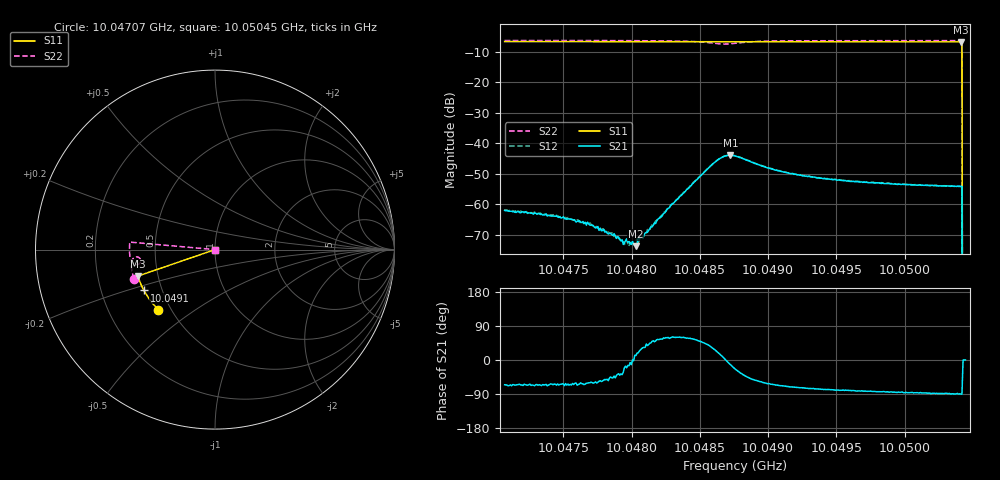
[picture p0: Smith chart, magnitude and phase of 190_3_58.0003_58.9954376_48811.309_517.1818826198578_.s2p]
#  HZ  S  RI  R  50.00
! Rohde & Schwarz Vector Network Analyzer
! Rohde-Schwarz,ZNB20-2Port,1311601062101988,3.16
! Created: UTC 3/21/2024, 12:58:48 AM
! freq[Hz]  re:S11  im:S11  re:S21  im:S21  re:S12  im:S12  re:S22  im:S22
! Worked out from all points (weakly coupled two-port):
!   401 points, 10.04707 GHz to 10.05045 GHz, reference 50 ohm
!   highest |S21| = -43.94 dB at 10.04872 GHz (marker M1); lowest = -73.7 dB at 10.04803 GHz (marker M2)
!   lowest |S11| = -6.8 dB at 10.05041 GHz (marker M3), VSWR 2.67, Z = 19.2 - j7.17 ohm
!   |S11| at or under -10 dB: 10.05042 GHz to end of sweep
!   |S22| runs from - to -6.4 dB; largest |S21 - S12| = 0.00042
!   S11 on the Smith chart (normalised r, x): 10.04707 GHz: 0.43, -0.36; 10.0491 GHz: 0.40, -0.23; 10.05045 GHz: 1.00, +0.00
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1.0047069e10  -0.3162 -0.3347  0.000331 -0.000722  0.000397 -0.000703  -0.4507 -0.1632
1.0047441e10  -0.3331 -0.3169  0.000279 -0.000573  0.000281 -0.000571  -0.4581 -0.1383
1.0047635e10  -0.3416 -0.3071  0.000233 -0.000446  0.00023 -0.000462  -0.4614 -0.1249
1.0047702e10  -0.3444 -0.3036  0.000237 -0.000388  0.000247 -0.0004  -0.4624 -0.1199
1.0047846e10  -0.3505 -0.2963  0.000237 -0.000235  0.000239 -0.000241  -0.4642 -0.1094
1.0047888e10  -0.3521 -0.2941  0.000207 -0.000184  0.000215 -0.000178  -0.4647 -0.1059
1.0047939e10  -0.3543 -0.2913  0.000187 -0.000118  0.000214 -0.000121  -0.465 -0.102
1.0047998e10  -0.3566 -0.2883  0.000215 -4.65e-05  0.000215 -1.18e-05  -0.4657 -0.0972
1.0048031e10  -0.3579 -0.2865  0.000202 4.27e-05  0.000255 3.4e-05  -0.4659 -0.0945
1.0048065e10  -0.3593 -0.2847  0.000256 0.00013  0.00025 0.000119  -0.466 -0.0916
1.0048099e10  -0.3607 -0.2829  0.000282 0.000186  0.000259 0.0002  -0.4664 -0.0887
1.00482e10  -0.3646 -0.2775  0.000346 0.000472  0.000322 0.000501  -0.4663 -0.0796
1.0048597e10  -0.3789 -0.2555  0.00398 0.00235  0.00383 0.00261  -0.4316 -0.0412
1.0048664e10  -0.3811 -0.2519  0.00582 0.00095  0.0058 0.00128  -0.416 -0.0531
1.0048724e10  -0.3831 -0.2489  0.00621 -0.00135  0.00629 -0.000982  -0.4166 -0.0721
1.0048757e10  -0.3842 -0.247  0.00565 -0.00247  0.00585 -0.00214  -0.4232 -0.08
1.0049103e10  -0.396 -0.2274  0.00128 -0.00316  0.00148 -0.00311  -0.4686 -0.0577
1.0049323e10  -0.4027 -0.2145  0.000697 -0.0027  0.000872 -0.00267  -0.4738 -0.038
1.0049888e10  -0.4181 -0.1804  0.000191 -0.00217  0.000349 -0.00218  -0.4767 0.00482
1.0050403e10  -0.4297 -0.1489  2.93e-05 -0.00198  0.000121 -0.00196  -0.4748 0.0407
1.0050412e10  -0.4297 -0.1481  9.87e-06 -0.00195  0.000129 -0.00196  -0.4749 0.0411
1.0050445e10  0 0  0 0  0 0  0 0
